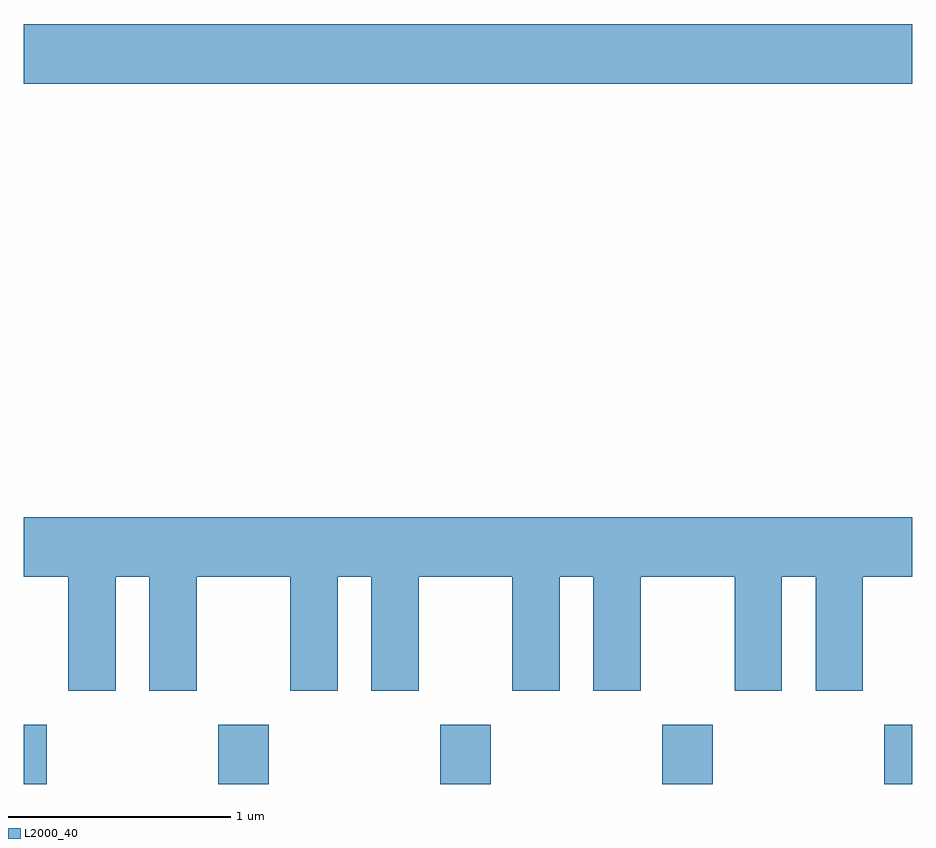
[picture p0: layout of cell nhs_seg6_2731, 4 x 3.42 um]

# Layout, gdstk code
import gdstk
lib = gdstk.Library(unit=1e-6, precision=1e-09)
def R(c, l, rs):  # rectangles x0, y0, x1, y1
    for r in rs: c.add(gdstk.rectangle(r[:2], r[2:], *l))
def A(c, l, x, y, w, h, nx, ny, dx, dy):  # array of equal rectangles
    R(c, l, [(x+i*dx, y+j*dy, x+i*dx+w, y+j*dy+h) for i in range(nx) for j in range(ny)])
def P(c, l, *ps):  # polygons
    for p in ps: c.add(gdstk.Polygon(p, *l))
L2000_40 = (2000, 40)

nhs_seg6_2731 = lib.new_cell('nhs_seg6_2731')
A(nhs_seg6_2731, L2000_40, 268.486, 1600.162, 0.228, 0.267, 3, 1, 1, 0)
R(nhs_seg6_2731, L2000_40, [(267.611,1600.162,267.714,1600.429), (271.486,1600.162,271.611,1600.429), (267.611,1603.316,271.611,1603.584)])
P(nhs_seg6_2731, L2000_40, [(268.024,1601.096),(268.176,1601.096),(268.176,1600.581),(268.389,1600.581),(268.389,1601.096),(268.811,1601.096),(268.811,1600.581),(269.024,1600.581),(269.024,1601.096),(269.176,1601.096),(269.176,1600.581),(269.389,1600.581),(269.389,1601.096),(269.811,1601.096),(269.811,1600.581),(270.024,1600.581),(270.024,1601.096),(270.176,1601.096),(270.176,1600.581),(270.389,1600.581),(270.389,1601.096),(270.811,1601.096),(270.811,1600.581),(271.024,1600.581),(271.024,1601.096),(271.176,1601.096),(271.176,1600.581),(271.389,1600.581),(271.389,1601.096),(271.611,1601.096),(271.611,1601.364),(267.611,1601.364),(267.611,1601.096),(267.811,1601.096),(267.811,1600.581),(268.024,1600.581)])

lib.write_gds('nhs_seg6_2731.gds')
